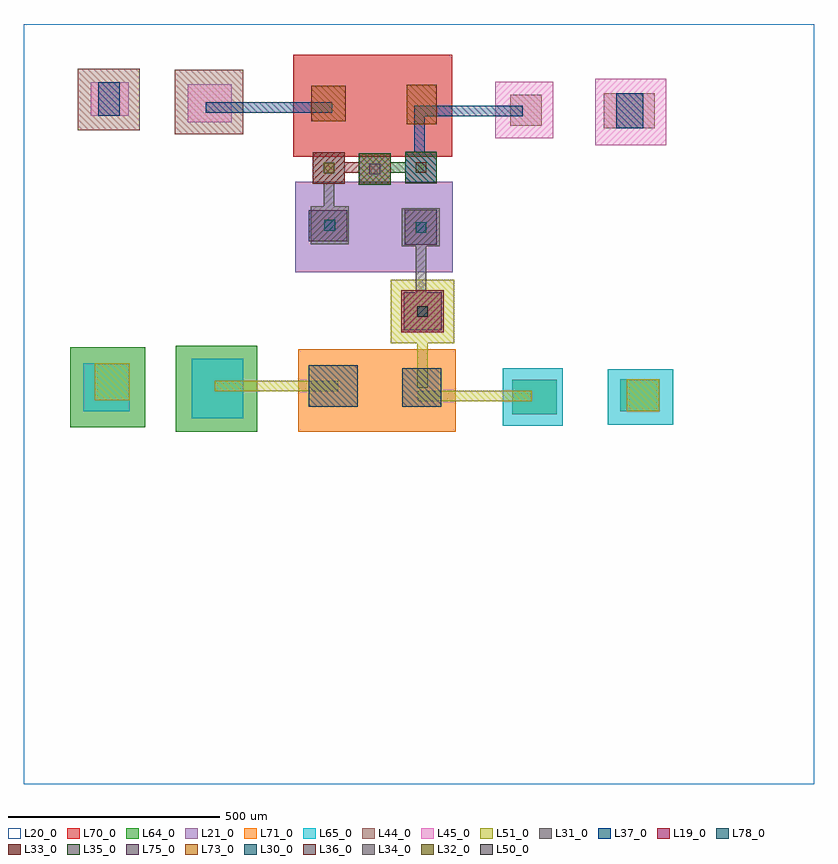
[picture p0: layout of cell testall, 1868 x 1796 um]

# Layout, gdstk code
import gdstk
lib = gdstk.Library(unit=1e-6, precision=1e-09)
def R(c, l, rs):  # rectangles x0, y0, x1, y1
    for r in rs: c.add(gdstk.rectangle(r[:2], r[2:], *l))
L19_0 = (19, 0)
L20_0 = (20, 0)
L21_0 = (21, 0)
L30_0 = (30, 0)
L31_0 = (31, 0)
L32_0 = (32, 0)
L33_0 = (33, 0)
L34_0 = (34, 0)
L35_0 = (35, 0)
L36_0 = (36, 0)
L37_0 = (37, 0)
L44_0 = (44, 0)
L45_0 = (45, 0)
L50_0 = (50, 0)
L51_0 = (51, 0)
L64_0 = (64, 0)
L65_0 = (65, 0)
L70_0 = (70, 0)
L71_0 = (71, 0)
L73_0 = (73, 0)
L75_0 = (75, 0)
L78_0 = (78, 0)

rec_fvia3_4_auto_5_1 = lib.new_cell('Rec_FVia3_4_Auto_5_1')
R(rec_fvia3_4_auto_5_1, L35_0, [(-37.5,-37.5,37.5,37.5)])
R(rec_fvia3_4_auto_5_1, L36_0, [(-12.5,-12.5,12.5,12.5)])
R(rec_fvia3_4_auto_5_1, L37_0, [(-37.5,-37.5,37.5,37.5)])

rec_fvia2_3_auto_4_1 = lib.new_cell('Rec_FVia2_3_Auto_4_1')
R(rec_fvia2_3_auto_4_1, L33_0, [(-37.5,-37.5,37.5,37.5)])
R(rec_fvia2_3_auto_4_1, L34_0, [(-12.5,-12.5,12.5,12.5)])
R(rec_fvia2_3_auto_4_1, L35_0, [(-37.5,-37.5,37.5,37.5)])

rec_fvia1_2_auto_3_1 = lib.new_cell('Rec_FVia1_2_Auto_3_1')
R(rec_fvia1_2_auto_3_1, L31_0, [(-37.5,-37.5,37.5,37.5)])
R(rec_fvia1_2_auto_3_1, L32_0, [(-12.5,-12.5,12.5,12.5)])
R(rec_fvia1_2_auto_3_1, L33_0, [(-37.5,-37.5,37.5,37.5)])

rec_fvia0_1_tsv_auto_2_1 = lib.new_cell('Rec_FVia0_1_Tsv_Auto_2_1')
R(rec_fvia0_1_tsv_auto_2_1, L19_0, [(-50,-50,50,50)])
R(rec_fvia0_1_tsv_auto_2_1, L30_0, [(-12.5,-12.5,12.5,12.5)])
R(rec_fvia0_1_tsv_auto_2_1, L31_0, [(-45,-45,45,45)])

rec_bvia1_0_tsv_auto_1_1 = lib.new_cell('Rec_BVia1_0_Tsv_Auto_1_1')
R(rec_bvia1_0_tsv_auto_1_1, L19_0, [(-50,-50,50,50)])
R(rec_bvia1_0_tsv_auto_1_1, L50_0, [(-12.5,-12.5,12.5,12.5)])
R(rec_bvia1_0_tsv_auto_1_1, L51_0, [(-75,-75,75,75)])

rec_fvia0_1_die_auto_0_1 = lib.new_cell('Rec_FVia0_1_Die_Auto_0_1')
R(rec_fvia0_1_die_auto_0_1, L30_0, [(-12.5,-12.5,12.5,12.5)])
R(rec_fvia0_1_die_auto_0_1, L31_0, [(-45,-45,45,45)])
R(rec_fvia0_1_die_auto_0_1, L75_0, [(-12.5,-12.5,12.5,12.5)])

fdptest = lib.new_cell('FDPTEST')
R(fdptest, L70_0, [(59.5,359.5,435,600.5)])
R(fdptest, L73_0, [(327,436.5,399,529.5), (101.5,443.5,183.5,527.5)])
fdptest.add(gdstk.Label('FDPTEST', (230.5,577.5), layer=70, texttype=0))
fdptest.add(gdstk.Label('B', (363,483), layer=73, texttype=0))
fdptest.add(gdstk.Label('A', (142.5,485.5), layer=73, texttype=0))

dptest = lib.new_cell('DPTEST')
R(dptest, L21_0, [(64.5,86,436,300.5)])
R(dptest, L75_0, [(323,151.5,399,234.5), (96.5,159.5,186.5,232.5)])
dptest.add(gdstk.Label('DPTEST', (219.5,264.5), layer=21, texttype=0))
dptest.add(gdstk.Label('B', (361,193), layer=75, texttype=0))
dptest.add(gdstk.Label('A', (141.5,196), layer=75, texttype=0))

bdptest = lib.new_cell('BDPTEST')
R(bdptest, L71_0, [(71.5,-290,443,-96)])
R(bdptest, L78_0, [(317,-232,409,-140), (95.5,-231,211.5,-134)])
bdptest.add(gdstk.Label('BDPTEST', (251,-119), layer=71, texttype=0))
bdptest.add(gdstk.Label('B', (153.5,-182.5), layer=78, texttype=0))
bdptest.add(gdstk.Label('A', (363,-186), layer=78, texttype=0))

bbgatest = lib.new_cell('BBGATEST')
R(bbgatest, L64_0, [(-218.5,-290,-25.5,-87), (-468,-280,-291,-91)])
R(bbgatest, L65_0, [(-180.5,-259,-58.5,-118), (-437,-242,-327,-129)])
bbgatest.add(gdstk.Label('B', (-379.5,-185.5), layer=64, texttype=0))
bbgatest.add(gdstk.Label('A', (-119.5,-188.5), layer=64, texttype=0))
bbgatest.add(gdstk.Label('BBGATEST', (-422,-313), layer=64, texttype=0))

fbgatest = lib.new_cell('FBGATEST')
R(fbgatest, L44_0, [(-221,412.5,-59,565), (-449.5,422.5,-303.5,567)])
R(fbgatest, L45_0, [(-189.5,440.5,-86.5,530.5), (-419.5,456.5,-329.5,535)])
fbgatest.add(gdstk.Label('B', (-140,488.75), layer=44, texttype=0))
fbgatest.add(gdstk.Label('FBGATEST', (-417,610.5), layer=44, texttype=0))
fbgatest.add(gdstk.Label('A', (-374.5,495.75), layer=44, texttype=0))

fwbtest = lib.new_cell('FWBTEST')
R(fwbtest, L44_0, [(793.5,427,914,509), (572.5,432.5,647,506)])
R(fwbtest, L45_0, [(772.5,386.5,940.5,544), (536.5,402.5,673.5,536.5)])
fwbtest.add(gdstk.Label('FWBTEST', (798,565.5), layer=44, texttype=0))
fwbtest.add(gdstk.Label('B', (853.75,468), layer=44, texttype=0))
fwbtest.add(gdstk.Label('A', (609.75,469.25), layer=44, texttype=0))

bwbtest = lib.new_cell('BWBTEST')
R(bwbtest, L64_0, [(576.5,-249,682,-167.5), (832,-242,925.5,-166.5)])
R(bwbtest, L65_0, [(554.5,-276,696,-140.5), (802,-274.5,957.5,-143)])
bwbtest.add(gdstk.Label('BWBTEST', (754.5,-114), layer=64, texttype=0))
bwbtest.add(gdstk.Label('B', (878.75,-204.25), layer=64, texttype=0))
bwbtest.add(gdstk.Label('A', (629.25,-208.25), layer=64, texttype=0))

testall = lib.new_cell('testall')
R(testall, L20_0, [(-577.5,-1123,1290.5,673)])
R(testall, L37_0, [(822.69,427,886.66,509), (-401.42,456.5,-350.69,535)])
R(testall, L51_0, [(846.96,-242,924.15,-166.5), (-410.24,-216.15,-327,-129)])
testall.add(gdstk.FlexPath([(610.5,-206.5),(366,-206.5)], 25, ends="extended", simple_path=True, layer=51, datatype=0))  # L51_0
testall.add(gdstk.FlexPath([(-113.5,-182.5),(153.5,-182.5)], 25, ends="extended", simple_path=True, layer=51, datatype=0))  # L51_0
testall.add(gdstk.FlexPath([(365,-174),(365,-6)], 25, ends="extended", simple_path=True, layer=51, datatype=0))  # L51_0
testall.add(gdstk.FlexPath([(361,39),(361,193)], 25, ends="extended", simple_path=True, layer=31, datatype=0))  # L31_0
testall.add(gdstk.FlexPath([(143.5,205.5),(143.5,332.5)], 25, ends="extended", simple_path=True, layer=31, datatype=0))  # L31_0
testall.add(gdstk.FlexPath([(143.5,334),(253,334)], 25, ends="extended", simple_path=True, layer=33, datatype=0))  # L33_0
testall.add(gdstk.FlexPath([(252,334),(361,334)], 25, ends="extended", simple_path=True, layer=35, datatype=0))  # L35_0
testall.add(gdstk.FlexPath([(589.5,467.5),(358,467.5)], 25, ends="extended", simple_path=True, layer=37, datatype=0))  # L37_0
testall.add(gdstk.FlexPath([(358,346.5),(358,467.5)], 25, ends="extended", simple_path=True, layer=37, datatype=0))  # L37_0
testall.add(gdstk.FlexPath([(139.5,475.5),(-135.5,475.5)], 25, ends="extended", simple_path=True, layer=37, datatype=0))  # L37_0
testall.add(gdstk.Reference(rec_fvia3_4_auto_5_1, (361,334)))
testall.add(gdstk.Reference(rec_fvia2_3_auto_4_1, (252,330.5)))
testall.add(gdstk.Reference(rec_fvia1_2_auto_3_1, (143.5,332.5)))
testall.add(gdstk.Reference(rec_fvia0_1_tsv_auto_2_1, (365,-6)))
testall.add(gdstk.Reference(rec_bvia1_0_tsv_auto_1_1, (365,-6)))
testall.add(gdstk.Reference(rec_fvia0_1_die_auto_0_1, (361,192.5)))
testall.add(gdstk.Reference(rec_fvia0_1_die_auto_0_1, (145.5,197.5)))
testall.add(gdstk.Reference(fdptest, (0,0)))
testall.add(gdstk.Reference(dptest, (0,0)))
testall.add(gdstk.Reference(bdptest, (0,0)))
testall.add(gdstk.Reference(bbgatest, (0,0)))
testall.add(gdstk.Reference(fbgatest, (0,0)))
testall.add(gdstk.Reference(fwbtest, (0,0)))
testall.add(gdstk.Reference(bwbtest, (0,0)))

lib.write_gds('testall.gds')
